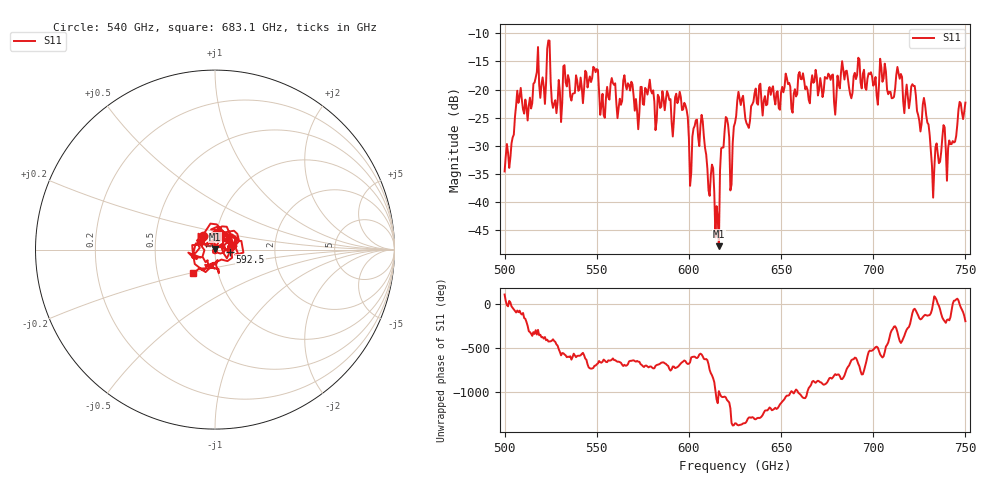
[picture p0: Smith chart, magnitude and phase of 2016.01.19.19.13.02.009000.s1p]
!Created with skrf (http://scikit-rf.org).
# GHz S RI R 50.0
!freq ReS11 ImS11
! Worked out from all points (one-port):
!   401 points, 500 GHz to 750 GHz, reference 50 ohm
!   lowest |S11| = -47.8 dB at 616.2 GHz (marker M1), VSWR 1.01, Z = 50 + j0.407 ohm
!   |S11| at or under -10 dB: start of sweep to end of sweep
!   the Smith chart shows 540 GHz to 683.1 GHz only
!   S11 on the Smith chart (normalised r, x): 540 GHz: 0.87, +0.13; 592.5 GHz: 1.18, -0.03; 683.1 GHz: 0.76, -0.21
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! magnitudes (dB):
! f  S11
! 500 GHz  -34.5
! 507.5 GHz  -22.4
! 513.8 GHz  -21.4
! 516.9 GHz  -17.9
! 531.2 GHz  -22.4
! 540 GHz  -20.2
! 549.4 GHz  -16.9
! 562.5 GHz  -21.6
! 565.6 GHz  -19.2
! 571.9 GHz  -23.8
! 577.5 GHz  -20.9
! 592.5 GHz  -21.4
! 593.8 GHz  -22.4
! 601.2 GHz  -34.8
! 607.5 GHz  -25.6
! 615 GHz  -40.7
! 616.2 GHz  -47.8
! 619.4 GHz  -27.3
! 623.1 GHz  -36.8
! 625 GHz  -25.9
! 656.2 GHz  -24.1
! 683.1 GHz  -15.0
! 687.5 GHz  -20.9
! 705 GHz  -18.6
! 718.8 GHz  -21.3
! 728.1 GHz  -22.7
! 732.5 GHz  -39.2
! 750 GHz  -22.3
